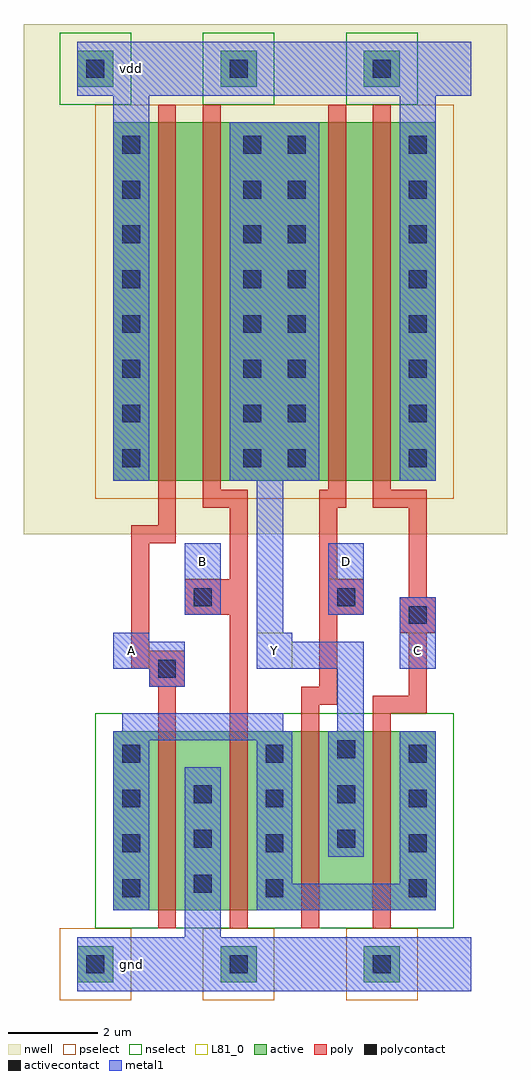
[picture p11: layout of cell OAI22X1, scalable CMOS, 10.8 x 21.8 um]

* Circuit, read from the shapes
.subckt OAI22X1 A B C D Y gnd vdd
M1 gnd A n1 gnd nfet w=4u l=0.4u
M2 n1 B gnd gnd nfet w=4u l=0.4u
M3 Y D n1 gnd nfet w=4u l=0.4u
M4 n1 C Y gnd nfet w=4u l=0.4u
M5 n2 A vdd vdd pfet w=8u l=0.4u
M6 Y B n2 vdd pfet w=8u l=0.4u
M7 n3 D Y vdd pfet w=8u l=0.4u
M8 vdd C n3 vdd pfet w=8u l=0.4u
.ends

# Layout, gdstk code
import gdstk
lib = gdstk.Library(unit=1e-6, precision=1e-09)
def R(c, l, rs):  # rectangles x0, y0, x1, y1
    for r in rs: c.add(gdstk.rectangle(r[:2], r[2:], *l))
def A(c, l, x, y, w, h, nx, ny, dx, dy):  # array of equal rectangles
    R(c, l, [(x+i*dx, y+j*dy, x+i*dx+w, y+j*dy+h) for i in range(nx) for j in range(ny)])
nwell = (42, 0)
active = (43, 0)
pselect = (44, 0)
nselect = (45, 0)
poly = (46, 0)
polycontact = (47, 0)
activecontact = (48, 0)
metal1 = (49, 0)
L81_0 = (81, 0)

oai22x1 = lib.new_cell('OAI22X1')
R(oai22x1, nwell, [(-1.6,9.6,9.2,21)])
A(oai22x1, active, -0.4, -0.4, 0.8, 0.8, 3, 2, 3.2, 20)
R(oai22x1, active, [(0.4,1.2,7.6,5.2), (0.4,10.8,7.6,18.8)])
A(oai22x1, pselect, -0.8, -0.8, 1.6, 1.6, 3, 1, 3.2, 0)
R(oai22x1, pselect, [(0,10.4,8,19.2)])
A(oai22x1, nselect, -0.8, 19.2, 1.6, 1.6, 3, 1, 3.2, 0)
R(oai22x1, nselect, [(0,0.8,8,5.6)])
R(oai22x1, poly, [(1.4,0.8,1.8,6.2), (3,0.8,3.4,7.8), (4.6,0.8,5,5.8), (6.2,0.8,6.6,5.6), (6.2,5.6,7.4,6), (4.6,5.8,5.4,6.2), (7,6,7.4,7.4), (1.2,6.2,2,6.6), (5,6.2,5.4,7.8), (0.8,6.6,2,7), (0.8,7,1.2,9.4), (6.8,7.4,7.6,8.2), (2,7.8,3.4,8.6), (5,7.8,6,8.6), (7,8.2,7.4,10.2), (3,8.6,3.4,10.2), (5,8.6,5.4,10.2), (0.8,9.4,1.8,9.8), (1.4,9.8,1.8,19.2), (2.4,10.2,3.4,10.6), (5,10.2,5.6,10.6), (6.2,10.2,7.4,10.6), (2.4,10.6,2.8,19.2), (5.2,10.6,5.6,19.2), (6.2,10.6,6.6,19.2)])
R(oai22x1, polycontact, [(1.4,6.4,1.8,6.8), (7,7.6,7.4,8), (2.2,8,2.6,8.4), (5.4,8,5.8,8.4)])
A(oai22x1, activecontact, -0.2, -0.2, 0.4, 0.4, 3, 2, 3.2, 20)
A(oai22x1, activecontact, 0.6, 1.5, 0.4, 0.4, 3, 4, 3.2, 1)
A(oai22x1, activecontact, 2.2, 1.6, 0.4, 0.4, 1, 3, 0, 1)
A(oai22x1, activecontact, 5.4, 2.6, 0.4, 0.4, 1, 3, 0, 1)
A(oai22x1, activecontact, 0.6, 11.1, 0.4, 0.4, 1, 8, 0, 1)
A(oai22x1, activecontact, 3.3, 11.1, 0.4, 0.4, 1, 8, 0, 1)
A(oai22x1, activecontact, 4.3, 11.1, 0.4, 0.4, 1, 8, 0, 1)
A(oai22x1, activecontact, 7, 11.1, 0.4, 0.4, 1, 8, 0, 1)
R(oai22x1, metal1, [(-0.4,-0.6,8.4,0.6), (2,0.6,2.8,4.4), (0.4,1.2,1.2,5), (3.6,1.2,7.6,1.8), (3.6,1.8,4.4,5), (6.8,1.8,7.6,5.2), (5.2,2.4,6,5.2), (0.4,5,4.4,5.2), (0.6,5.2,4.2,5.6), (5.4,5.2,6,6.6), (1.2,6.2,2,6.6), (0.4,6.6,2,7.2), (3.6,6.6,6,7.2), (6.8,6.6,7.6,8.2), (0.4,7.2,1.2,7.4), (3.6,7.2,4.4,7.4), (3.6,7.4,4.2,10.8), (2,7.8,2.8,9.4), (5.2,7.8,6,9.4), (0.4,10.8,1.2,19.4), (3,10.8,5,18.8), (6.8,10.8,7.6,19.4), (-0.4,19.4,8.4,20.6)])
A(oai22x1, L81_0, 0.4, 6.6, 0.8, 0.8, 3, 1, 3.2, 0)
R(oai22x1, L81_0, [(2,8.6,2.8,9.4), (5.2,8.6,6,9.4)])
oai22x1.add(gdstk.Label('gnd', (0.8,0), layer=109, texttype=0))
oai22x1.add(gdstk.Label('vdd', (0.8,20), layer=109, texttype=0))
oai22x1.add(gdstk.Label('D', (5.6,9), layer=109, texttype=0))
oai22x1.add(gdstk.Label('C', (7.2,7), layer=109, texttype=0))
oai22x1.add(gdstk.Label('A', (0.8,7), layer=109, texttype=0))
oai22x1.add(gdstk.Label('B', (2.4,9), layer=109, texttype=0))
oai22x1.add(gdstk.Label('Y', (4,7), layer=109, texttype=0))

lib.write_gds('OAI22X1.gds')
